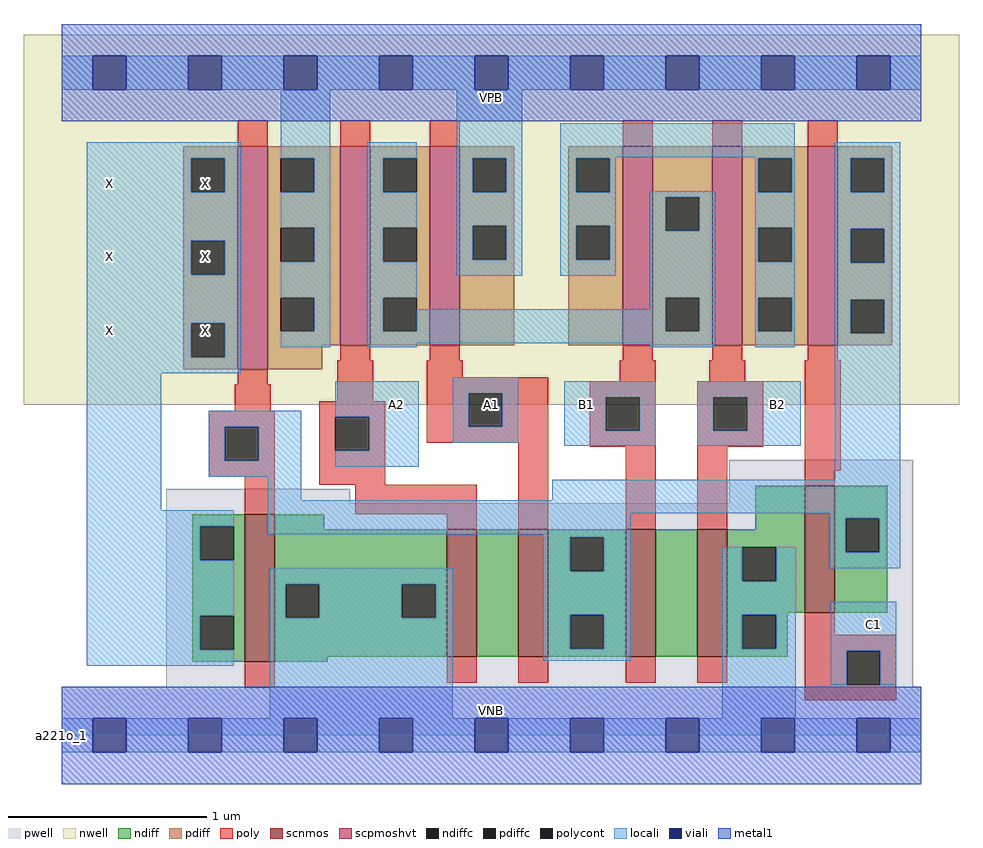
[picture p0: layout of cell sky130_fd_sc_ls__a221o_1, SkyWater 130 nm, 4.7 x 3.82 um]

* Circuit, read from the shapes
.subckt sky130_fd_sc_ls__a221o_1 A1 A2 B1 B2 C1 VGND VNB VPB VPWR X
XM1 VGND n1 X VNB sky130_fd_pr__nfet_01v8 w=0.74 l=0.15
XM2 n2 A2 VGND VNB sky130_fd_pr__nfet_01v8 w=0.64 l=0.15
XM3 n1 A1 n2 VNB sky130_fd_pr__nfet_01v8 w=0.64 l=0.15
XM4 n3 B1 n1 VNB sky130_fd_pr__nfet_01v8 w=0.64 l=0.15
XM5 VGND B2 n3 VNB sky130_fd_pr__nfet_01v8 w=0.64 l=0.15
XM6 n1 C1 VGND VNB sky130_fd_pr__nfet_01v8 w=0.64 l=0.15
XM7 VPWR n1 X VPB sky130_fd_pr__pfet_01v8_hvt w=1.12 l=0.15
XM8 n4 A2 VPWR VPB sky130_fd_pr__pfet_01v8_hvt w=1 l=0.15
XM9 VPWR A1 n4 VPB sky130_fd_pr__pfet_01v8_hvt w=1 l=0.15
XM10 n4 B1 n5 VPB sky130_fd_pr__pfet_01v8_hvt w=1 l=0.15
XM11 n5 B2 n4 VPB sky130_fd_pr__pfet_01v8_hvt w=1 l=0.15
XM12 n1 C1 n5 VPB sky130_fd_pr__pfet_01v8_hvt w=1 l=0.15
.ends

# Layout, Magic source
magic
tech sky130A
magscale 1 2
<< nwell >>
rect -38 332 902 704
<< pwell >>
rect 105 233 290 248
rect 671 233 856 277
rect 105 49 856 233
rect 0 0 864 49
<< scnmos >>
rect 184 74 214 222
rect 387 79 417 207
rect 459 79 489 207
rect 567 79 597 207
rect 639 79 669 207
rect 747 123 777 251
<< scpmoshvt >>
rect 177 368 207 592
rect 280 392 310 592
rect 370 392 400 592
rect 564 392 594 592
rect 654 392 684 592
rect 750 392 780 592
<< ndiff >>
rect 131 210 184 222
rect 131 176 139 210
rect 173 176 184 210
rect 131 120 184 176
rect 131 86 139 120
rect 173 86 184 120
rect 131 74 184 86
rect 214 207 264 222
rect 697 207 747 251
rect 214 152 387 207
rect 214 118 225 152
rect 259 118 342 152
rect 376 118 387 152
rect 214 79 387 118
rect 417 79 459 207
rect 489 199 567 207
rect 489 165 511 199
rect 545 165 567 199
rect 489 121 567 165
rect 489 87 511 121
rect 545 87 567 121
rect 489 79 567 87
rect 597 79 639 207
rect 669 189 747 207
rect 669 155 684 189
rect 718 155 747 189
rect 669 123 747 155
rect 777 218 830 251
rect 777 184 788 218
rect 822 184 830 218
rect 777 123 830 184
rect 669 121 730 123
rect 669 87 684 121
rect 718 87 730 121
rect 669 79 730 87
rect 214 74 267 79
<< pdiff >>
rect 122 580 177 592
rect 122 546 130 580
rect 164 546 177 580
rect 122 497 177 546
rect 122 463 130 497
rect 164 463 177 497
rect 122 414 177 463
rect 122 380 130 414
rect 164 380 177 414
rect 122 368 177 380
rect 207 580 280 592
rect 207 546 220 580
rect 254 546 280 580
rect 207 510 280 546
rect 207 476 220 510
rect 254 476 280 510
rect 207 440 280 476
rect 207 406 220 440
rect 254 406 280 440
rect 207 392 280 406
rect 310 580 370 592
rect 310 546 323 580
rect 357 546 370 580
rect 310 510 370 546
rect 310 476 323 510
rect 357 476 370 510
rect 310 440 370 476
rect 310 406 323 440
rect 357 406 370 440
rect 310 392 370 406
rect 400 580 455 592
rect 400 546 413 580
rect 447 546 455 580
rect 400 512 455 546
rect 400 478 413 512
rect 447 478 455 512
rect 400 392 455 478
rect 509 580 564 592
rect 509 546 517 580
rect 551 546 564 580
rect 509 512 564 546
rect 509 478 517 512
rect 551 478 564 512
rect 509 392 564 478
rect 594 541 654 592
rect 594 507 607 541
rect 641 507 654 541
rect 594 440 654 507
rect 594 406 607 440
rect 641 406 654 440
rect 594 392 654 406
rect 684 580 750 592
rect 684 546 700 580
rect 734 546 750 580
rect 684 510 750 546
rect 684 476 700 510
rect 734 476 750 510
rect 684 440 750 476
rect 684 406 700 440
rect 734 406 750 440
rect 684 392 750 406
rect 780 580 835 592
rect 780 546 793 580
rect 827 546 835 580
rect 780 509 835 546
rect 780 475 793 509
rect 827 475 835 509
rect 780 438 835 475
rect 780 404 793 438
rect 827 404 835 438
rect 780 392 835 404
rect 207 368 262 392
<< ndiffc >>
rect 139 176 173 210
rect 139 86 173 120
rect 225 118 259 152
rect 342 118 376 152
rect 511 165 545 199
rect 511 87 545 121
rect 684 155 718 189
rect 788 184 822 218
rect 684 87 718 121
<< pdiffc >>
rect 130 546 164 580
rect 130 463 164 497
rect 130 380 164 414
rect 220 546 254 580
rect 220 476 254 510
rect 220 406 254 440
rect 323 546 357 580
rect 323 476 357 510
rect 323 406 357 440
rect 413 546 447 580
rect 413 478 447 512
rect 517 546 551 580
rect 517 478 551 512
rect 607 507 641 541
rect 607 406 641 440
rect 700 546 734 580
rect 700 476 734 510
rect 700 406 734 440
rect 793 546 827 580
rect 793 475 827 509
rect 793 404 827 438
<< poly >>
rect 177 592 207 618
rect 280 592 310 618
rect 370 592 400 618
rect 564 592 594 618
rect 654 592 684 618
rect 750 592 780 618
rect 280 377 310 392
rect 370 377 400 392
rect 564 377 594 392
rect 654 377 684 392
rect 750 377 780 392
rect 177 353 207 368
rect 174 326 210 353
rect 277 336 313 377
rect 367 360 403 377
rect 367 344 489 360
rect 561 356 597 377
rect 651 356 687 377
rect 148 310 214 326
rect 148 276 164 310
rect 198 276 214 310
rect 148 260 214 276
rect 184 222 214 260
rect 259 320 325 336
rect 259 286 275 320
rect 309 286 325 320
rect 367 310 409 344
rect 443 310 489 344
rect 367 294 489 310
rect 259 252 325 286
rect 295 222 417 252
rect 387 207 417 222
rect 459 207 489 294
rect 531 340 597 356
rect 531 306 547 340
rect 581 306 597 340
rect 531 290 597 306
rect 567 207 597 290
rect 639 340 705 356
rect 639 306 655 340
rect 689 306 705 340
rect 639 290 705 306
rect 639 207 669 290
rect 747 266 783 377
rect 747 251 777 266
rect 747 101 777 123
rect 747 85 839 101
rect 184 48 214 74
rect 387 53 417 79
rect 459 53 489 79
rect 567 53 597 79
rect 639 53 669 79
rect 747 51 789 85
rect 823 51 839 85
rect 747 35 839 51
<< polycont >>
rect 164 276 198 310
rect 275 286 309 320
rect 409 310 443 344
rect 547 306 581 340
rect 655 306 689 340
rect 789 51 823 85
<< locali >>
rect 0 649 31 683
rect 65 649 127 683
rect 161 649 223 683
rect 257 649 319 683
rect 353 649 415 683
rect 449 649 511 683
rect 545 649 607 683
rect 641 649 703 683
rect 737 649 799 683
rect 833 649 864 683
rect 25 580 180 596
rect 25 546 130 580
rect 164 546 180 580
rect 25 497 180 546
rect 25 463 130 497
rect 164 463 180 497
rect 25 414 180 463
rect 25 380 130 414
rect 164 380 180 414
rect 220 580 270 649
rect 254 546 270 580
rect 220 510 270 546
rect 254 476 270 510
rect 220 440 270 476
rect 254 406 270 440
rect 220 390 270 406
rect 307 580 357 596
rect 307 546 323 580
rect 307 510 357 546
rect 307 476 323 510
rect 307 440 357 476
rect 397 580 463 649
rect 397 546 413 580
rect 447 546 463 580
rect 397 512 463 546
rect 397 478 413 512
rect 447 478 463 512
rect 397 462 463 478
rect 501 581 737 615
rect 501 580 557 581
rect 501 546 517 580
rect 551 546 557 580
rect 697 580 737 581
rect 501 512 557 546
rect 501 478 517 512
rect 551 478 557 512
rect 501 462 557 478
rect 591 541 657 547
rect 591 507 607 541
rect 641 507 657 541
rect 307 406 323 440
rect 591 440 657 507
rect 591 428 607 440
rect 357 406 607 428
rect 641 406 657 440
rect 307 394 657 406
rect 307 390 357 394
rect 591 390 657 394
rect 697 546 700 580
rect 734 546 737 580
rect 697 510 737 546
rect 697 476 700 510
rect 734 476 737 510
rect 697 440 737 476
rect 697 406 700 440
rect 734 406 737 440
rect 697 390 737 406
rect 777 580 843 596
rect 777 546 793 580
rect 827 546 843 580
rect 777 509 843 546
rect 777 475 793 509
rect 827 475 843 509
rect 777 438 843 475
rect 777 404 793 438
rect 827 404 843 438
rect 25 364 180 380
rect 25 226 100 364
rect 148 310 241 326
rect 148 276 164 310
rect 198 276 241 310
rect 148 260 241 276
rect 275 320 359 356
rect 309 286 359 320
rect 393 344 459 360
rect 393 310 409 344
rect 443 310 459 344
rect 393 294 459 310
rect 505 340 597 356
rect 505 306 547 340
rect 581 306 597 340
rect 505 291 597 306
rect 639 340 743 356
rect 639 306 655 340
rect 689 306 743 340
rect 639 291 743 306
rect 275 270 359 286
rect 207 236 241 260
rect 777 257 843 404
rect 493 236 843 257
rect 25 210 173 226
rect 25 176 139 210
rect 207 223 843 236
rect 207 202 572 223
rect 25 120 173 176
rect 484 199 572 202
rect 25 86 139 120
rect 25 70 173 86
rect 209 152 393 168
rect 209 118 225 152
rect 259 118 342 152
rect 376 118 393 152
rect 209 17 393 118
rect 484 165 511 199
rect 545 165 572 199
rect 772 218 843 223
rect 484 121 572 165
rect 484 87 511 121
rect 545 87 572 121
rect 484 75 572 87
rect 664 155 684 189
rect 718 155 738 189
rect 772 184 788 218
rect 822 184 843 218
rect 772 168 843 184
rect 664 121 738 155
rect 664 87 684 121
rect 718 87 738 121
rect 664 17 738 87
rect 773 85 839 134
rect 773 51 789 85
rect 823 51 839 85
rect 0 -17 31 17
rect 65 -17 127 17
rect 161 -17 223 17
rect 257 -17 319 17
rect 353 -17 415 17
rect 449 -17 511 17
rect 545 -17 607 17
rect 641 -17 703 17
rect 737 -17 799 17
rect 833 -17 864 17
<< viali >>
rect 31 649 65 683
rect 127 649 161 683
rect 223 649 257 683
rect 319 649 353 683
rect 415 649 449 683
rect 511 649 545 683
rect 607 649 641 683
rect 703 649 737 683
rect 799 649 833 683
rect 31 -17 65 17
rect 127 -17 161 17
rect 223 -17 257 17
rect 319 -17 353 17
rect 415 -17 449 17
rect 511 -17 545 17
rect 607 -17 641 17
rect 703 -17 737 17
rect 799 -17 833 17
<< metal1 >>
rect 0 683 864 715
rect 0 649 31 683
rect 65 649 127 683
rect 161 649 223 683
rect 257 649 319 683
rect 353 649 415 683
rect 449 649 511 683
rect 545 649 607 683
rect 641 649 703 683
rect 737 649 799 683
rect 833 649 864 683
rect 0 617 864 649
rect 0 17 864 49
rect 0 -17 31 17
rect 65 -17 127 17
rect 161 -17 223 17
rect 257 -17 319 17
rect 353 -17 415 17
rect 449 -17 511 17
rect 545 -17 607 17
rect 641 -17 703 17
rect 737 -17 799 17
rect 833 -17 864 17
rect 0 -49 864 -17
<< labels >>
rlabel comment s 0 0 0 0 4 a221o_1
flabel pwell s 0 0 864 49 0 FreeSans 200 0 0 0 VNB
port 7 nsew ground bidirectional
flabel nwell s 0 617 864 666 0 FreeSans 200 0 0 0 VPB
port 8 nsew power bidirectional
flabel metal1 s 0 617 864 666 0 FreeSans 340 0 0 0 VPWR
port 9 nsew power bidirectional abutment
flabel metal1 s 0 0 864 49 0 FreeSans 340 0 0 0 VGND
port 6 nsew ground bidirectional abutment
flabel locali s 31 390 65 424 0 FreeSans 340 0 0 0 X
port 10 nsew signal output
flabel locali s 31 464 65 498 0 FreeSans 340 0 0 0 X
port 10 nsew signal output
flabel locali s 31 538 65 572 0 FreeSans 340 0 0 0 X
port 10 nsew signal output
flabel locali s 127 390 161 424 0 FreeSans 340 0 0 0 X
port 10 nsew signal output
flabel locali s 127 464 161 498 0 FreeSans 340 0 0 0 X
port 10 nsew signal output
flabel locali s 127 538 161 572 0 FreeSans 340 0 0 0 X
port 10 nsew signal output
flabel locali s 799 94 833 128 0 FreeSans 340 0 0 0 C1
port 5 nsew signal input
flabel locali s 703 316 737 350 0 FreeSans 340 0 0 0 B2
port 4 nsew signal input
flabel locali s 319 316 353 350 0 FreeSans 340 0 0 0 A2
port 2 nsew signal input
flabel locali s 415 316 449 350 0 FreeSans 340 0 0 0 A1
port 1 nsew signal input
flabel locali s 511 316 545 350 0 FreeSans 340 0 0 0 B1
port 3 nsew signal input
<< properties >>
string LEFsite unit
string LEFclass CORE
string FIXED_BBOX 0 0 864 666
string GDS_FILE $PDKPATH/libs.ref/sky130_fd_sc_ls/gds/sky130_fd_sc_ls.gds
string LEFsymmetry X Y
string GDS_END 3960194
string GDS_START 3951754
<< end >>
